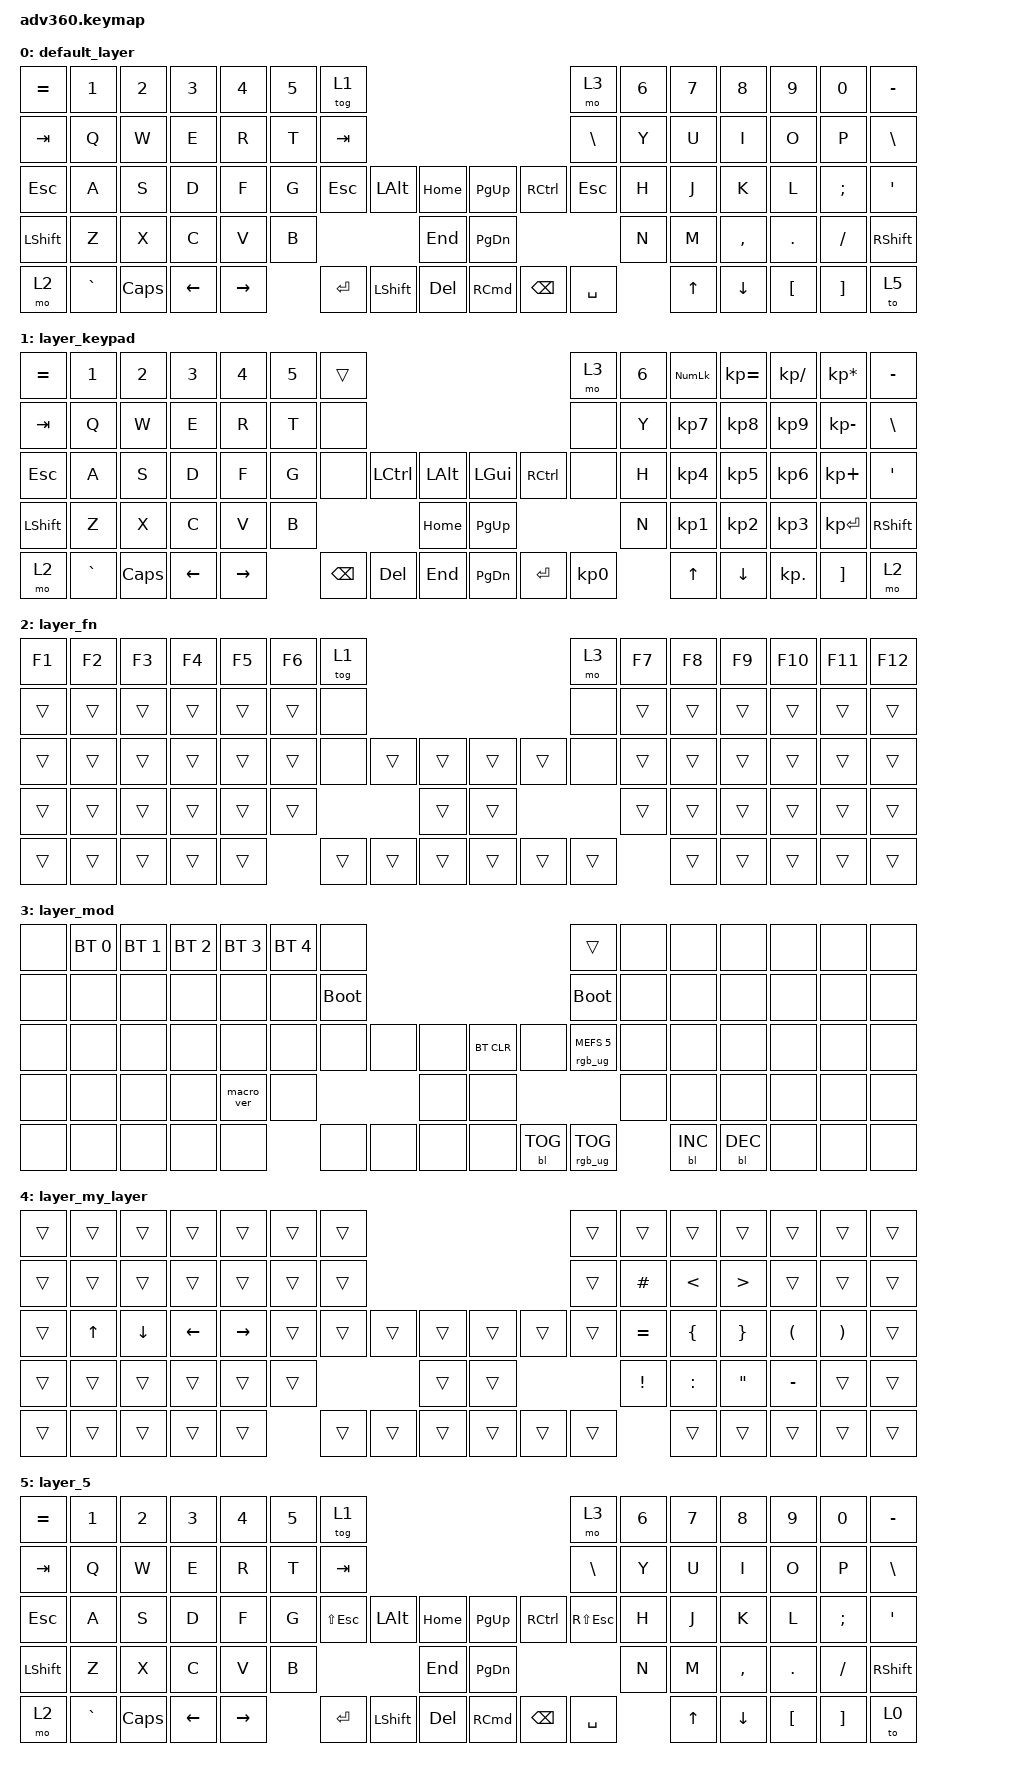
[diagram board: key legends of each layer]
/*
 * Copyright (c) 2020 The ZMK Contributors
 *
 * SPDX-License-Identifier: MIT
 */
/* THIS FILE WAS GENERATED!
 *
 * This file was generated automatically. You may or may not want to
 * edit it directly.
 */

#include <behaviors.dtsi>
#include <dt-bindings/zmk/backlight.h>
#include <dt-bindings/zmk/bt.h>
#include <dt-bindings/zmk/keys.h>
#include <dt-bindings/zmk/rgb.h>

/ {
    behaviors {
        #include "macros.dtsi"
    #include "version.dtsi"

        hm: homerow_mods {
            compatible = "zmk,behavior-hold-tap";
            label = "HOMEROW_MODS";
            #binding-cells = <2>;
            tapping-term-ms = <200>;
            quick_tap_ms = <175>;
            flavor = "tap-preferred";
            bindings = <&kp>, <&kp>;
        };
    };

    keymap {
        compatible = "zmk,keymap";

        default_layer {
            bindings = <
&kp EQUAL  &kp N1     &kp N2    &kp N3    &kp N4     &kp N5  &tog 1                                                                       &mo 3          &kp N6  &kp N7  &kp N8     &kp N9    &kp N0    &kp MINUS
&kp TAB    &kp Q      &kp W     &kp E     &kp R      &kp T   &kp TAB                                                                      &kp BACKSLASH  &kp Y   &kp U   &kp I      &kp O     &kp P     &kp BSLH
&kp ESC    &kp A      &kp S     &kp D     &kp F      &kp G   &kp ESC    &kp LEFT_ALT    &kp HOME        &kp PAGE_UP        &kp RCTRL      &kp ESCAPE     &kp H   &kp J   &kp K      &kp L     &kp SEMI  &kp SQT
&kp LSHFT  &kp Z      &kp X     &kp C     &kp V      &kp B                              &kp END         &kp PAGE_DOWN                                    &kp N   &kp M   &kp COMMA  &kp DOT   &kp FSLH  &kp RSHFT
&mo 2      &kp GRAVE  &kp CAPS  &kp LEFT  &kp RIGHT          &kp ENTER  &kp LEFT_SHIFT  &kp DELETE      &kp RIGHT_COMMAND  &kp BACKSPACE  &kp SPACE              &kp UP  &kp DOWN   &kp LBKT  &kp RBKT  &to 5
            >;
        };

        layer_keypad {
            bindings = <
&kp EQUAL  &kp N1     &kp N2    &kp N3    &kp N4     &kp N5  &trans                                                   &mo 3      &kp N6  &kp KP_NUM  &kp KP_EQUAL  &kp KP_DIVIDE  &kp KP_MULTIPLY  &kp MINUS
&kp TAB    &kp Q      &kp W     &kp E     &kp R      &kp T   &none                                                    &none      &kp Y   &kp KP_N7   &kp KP_N8     &kp KP_N9      &kp KP_MINUS     &kp BSLH
&kp ESC    &kp A      &kp S     &kp D     &kp F      &kp G   &none     &kp LCTRL  &kp LALT      &kp LGUI   &kp RCTRL  &none      &kp H   &kp KP_N4   &kp KP_N5     &kp KP_N6      &kp KP_PLUS      &kp SQT
&kp LSHFT  &kp Z      &kp X     &kp C     &kp V      &kp B                        &kp HOME      &kp PG_UP                        &kp N   &kp KP_N1   &kp KP_N2     &kp KP_N3      &kp KP_ENTER     &kp RSHFT
&mo 2      &kp GRAVE  &kp CAPS  &kp LEFT  &kp RIGHT          &kp BSPC  &kp DEL    &kp END       &kp PG_DN  &kp ENTER  &kp KP_N0          &kp UP      &kp DOWN      &kp KP_DOT     &kp RBKT         &mo 2
            >;
        };

        layer_fn {
            bindings = <
&kp F1  &kp F2  &kp F3  &kp F4  &kp F5  &kp F6  &tog 1                                      &mo 3   &kp F7  &kp F8  &kp F9  &kp F10  &kp F11  &kp F12
&trans  &trans  &trans  &trans  &trans  &trans  &none                                       &none   &trans  &trans  &trans  &trans   &trans   &trans
&trans  &trans  &trans  &trans  &trans  &trans  &none   &trans  &trans      &trans  &trans  &none   &trans  &trans  &trans  &trans   &trans   &trans
&trans  &trans  &trans  &trans  &trans  &trans                  &trans      &trans                  &trans  &trans  &trans  &trans   &trans   &trans
&trans  &trans  &trans  &trans  &trans          &trans  &trans  &trans      &trans  &trans  &trans          &trans  &trans  &trans   &trans   &trans
            >;
        };

        layer_mod {
            bindings = <
&none  &bt BT_SEL 0  &bt BT_SEL 1  &bt BT_SEL 2  &bt BT_SEL 3  &bt BT_SEL 4  &none                                                  &trans                  &none  &none       &none       &none  &none  &none
&none  &none         &none         &none         &none         &none         &bootloader                                            &bootloader             &none  &none       &none       &none  &none  &none
&none  &none         &none         &none         &none         &none         &none        &none  &none      &bt BT_CLR  &none       &rgb_ug RGB_MEFS_CMD 5  &none  &none       &none       &none  &none  &none
&none  &none         &none         &none         &macro_ver    &none                             &none      &none                                           &none  &none       &none       &none  &none  &none
&none  &none         &none         &none         &none                       &none        &none  &none      &none       &bl BL_TOG  &rgb_ug RGB_TOG                &bl BL_INC  &bl BL_DEC  &none  &none  &none
            >;
        };

        layer_my_layer {
            bindings = <
&trans  &trans  &trans    &trans    &trans     &trans  &trans                                      &trans  &trans           &trans          &trans             &trans                &trans                 &trans
&trans  &trans  &trans    &trans    &trans     &trans  &trans                                      &trans  &kp POUND        &kp LESS_THAN   &kp GREATER_THAN   &trans                &trans                 &trans
&trans  &kp UP  &kp DOWN  &kp LEFT  &kp RIGHT  &trans  &trans  &trans  &trans      &trans  &trans  &trans  &kp EQUAL        &kp LEFT_BRACE  &kp RIGHT_BRACE    &kp LEFT_PARENTHESIS  &kp RIGHT_PARENTHESIS  &trans
&trans  &trans  &trans    &trans    &trans     &trans                  &trans      &trans                  &kp EXCLAMATION  &kp COLON       &kp DOUBLE_QUOTES  &kp MINUS             &trans                 &trans
&trans  &trans  &trans    &trans    &trans             &trans  &trans  &trans      &trans  &trans  &trans                   &trans          &trans             &trans                &trans                 &trans
            >;
        };

        layer_5 {
            bindings = <
&kp EQUAL  &kp N1     &kp N2    &kp N3    &kp N4     &kp N5  &tog 1                                                                            &mo 3           &kp N6  &kp N7  &kp N8     &kp N9    &kp N0    &kp MINUS
&kp TAB    &kp Q      &kp W     &kp E     &kp R      &kp T   &kp TAB                                                                           &kp BACKSLASH   &kp Y   &kp U   &kp I      &kp O     &kp P     &kp BSLH
&kp ESC    &kp A      &kp S     &kp D     &kp F      &kp G   &kp LS(ESCAPE)  &kp LEFT_ALT    &kp HOME        &kp PAGE_UP        &kp RCTRL      &kp RS(ESCAPE)  &kp H   &kp J   &kp K      &kp L     &kp SEMI  &kp SQT
&kp LSHFT  &kp Z      &kp X     &kp C     &kp V      &kp B                                   &kp END         &kp PAGE_DOWN                                     &kp N   &kp M   &kp COMMA  &kp DOT   &kp FSLH  &kp RSHFT
&mo 2      &kp GRAVE  &kp CAPS  &kp LEFT  &kp RIGHT          &kp ENTER       &kp LEFT_SHIFT  &kp DELETE      &kp RIGHT_COMMAND  &kp BACKSPACE  &kp SPACE               &kp UP  &kp DOWN   &kp LBKT  &kp RBKT  &to 0
            >;
        };
    };
};
